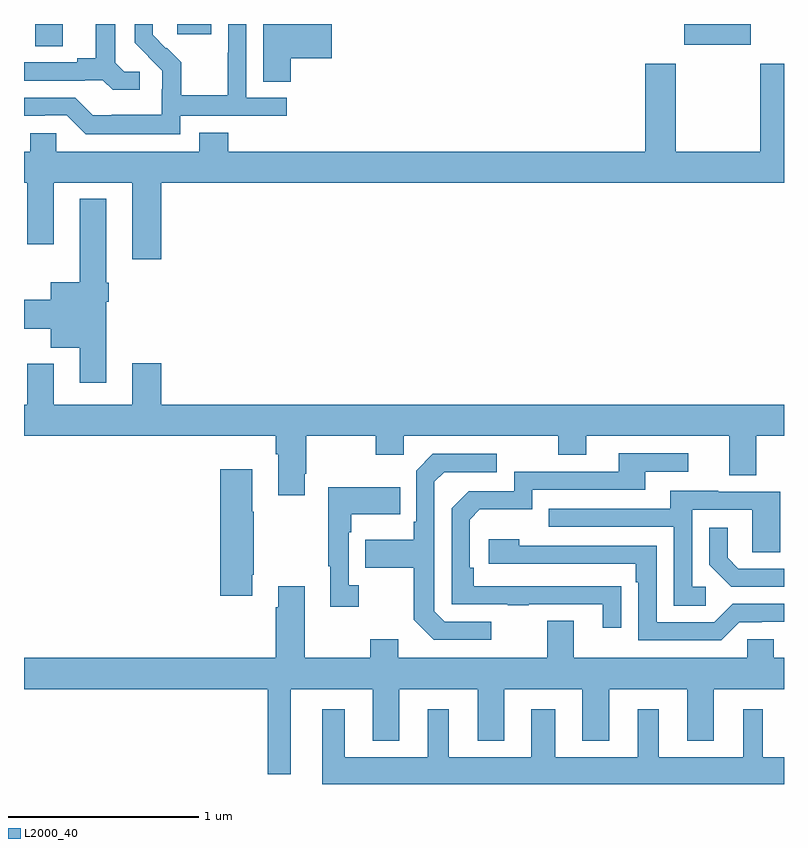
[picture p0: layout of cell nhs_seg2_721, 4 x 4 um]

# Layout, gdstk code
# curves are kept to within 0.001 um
import gdstk
lib = gdstk.Library(unit=1e-6, precision=1e-09)
def R(c, l, rs):  # rectangles x0, y0, x1, y1
    for r in rs: c.add(gdstk.rectangle(r[:2], r[2:], *l))
def P(c, l, *ps):  # polygons
    for p in ps: c.add(gdstk.Polygon(p, *l))
L2000_40 = (2000, 40)

nhs_seg2_721 = lib.new_cell('nhs_seg2_721')
R(nhs_seg2_721, L2000_40, [(147.06,653.683,147.205,653.8), (150.476,653.69,150.826,653.8), (147.806,653.745,147.985,653.8)])
P(nhs_seg2_721, L2000_40, [(148.403,653.621),(148.621,653.621),(148.621,653.8),(148.259,653.8),(148.259,653.497),(148.403,653.497)],
  [(147.822,653.316),(148.384,653.316),(148.384,653.412),(148.17,653.412),(148.17,653.8),(148.074,653.8),(148.074,653.648),(148.072,653.648),(148.072,653.425),(147.827,653.425),(147.827,653.599),(147.75,653.676),(147.747,653.673),(147.677,653.744),(147.677,653.8),(147.582,653.8),(147.582,653.702),(147.728,653.554),(147.728,653.457),(147.726,653.457),(147.726,653.323),(147.463,653.323),(147.463,653.319),(147.363,653.319),(147.27,653.412),(147,653.412),(147,653.316),(147.11,653.316),(147.11,653.319),(147.225,653.319),(147.325,653.219),(147.822,653.219)],
  [(147.61,653.55),(147.528,653.55),(147.481,653.597),(147.481,653.8),(147.377,653.8),(147.377,653.621),(147.281,653.621),(147.281,653.598),(147,653.598),(147,653.502),(147.32,653.502),(147.32,653.505),(147.414,653.505),(147.466,653.453),(147.61,653.453)],
  [(147.722,652.964),(151,652.964),(151,653.59),(150.874,653.59),(150.874,653.128),(150.429,653.128),(150.429,653.59),(150.269,653.59),(150.269,653.128),(148.076,653.128),(148.076,653.227),(147.923,653.227),(147.923,653.128),(147.171,653.128),(147.171,653.226),(147.033,653.226),(147.033,653.128),(147,653.128),(147,652.964),(147.017,652.964),(147.017,652.753),(147.018,652.753),(147.018,652.641),(147.157,652.641),(147.157,652.964),(147.569,652.964),(147.569,652.563),(147.722,652.563)],
  [(147.433,652.337),(147.446,652.337),(147.446,652.437),(147.433,652.437),(147.433,652.879),(147.293,652.879),(147.293,652.441),(147.14,652.441),(147.14,652.348),(147,652.348),(147,652.196),(147.14,652.196),(147.14,652.097),(147.293,652.097),(147.293,651.912),(147.433,651.912)],
  [(148.477,651.433),(148.485,651.433),(148.485,651.632),(148.852,651.632),(148.852,651.533),(148.998,651.533),(148.998,651.632),(149.812,651.632),(149.812,651.533),(149.959,651.533),(149.959,651.632),(150.713,651.632),(150.713,651.424),(150.853,651.424),(150.853,651.632),(151,651.632),(151,651.796),(147.722,651.796),(147.722,652.015),(147.569,652.015),(147.569,651.796),(147.157,651.796),(147.157,652.012),(147.017,652.012),(147.017,651.796),(147,651.796),(147,651.632),(148.325,651.632),(148.325,651.536),(148.337,651.536),(148.337,651.321),(148.477,651.321)],
  [(150.143,650.84),(149.366,650.841),(149.366,650.938),(149.346,650.938),(149.346,651.192),(149.399,651.245),(149.676,651.245),(149.676,651.348),(150.271,651.348),(150.271,651.444),(150.496,651.444),(150.496,651.54),(150.131,651.54),(150.131,651.444),(149.58,651.444),(149.58,651.342),(149.34,651.342),(149.25,651.252),(149.25,650.745),(149.545,650.745),(149.545,650.74),(149.657,650.74),(149.657,650.745),(150.047,650.745),(150.047,650.622),(150.143,650.622)],
  [(149.458,650.655),(149.214,650.655),(149.16,650.709),(149.16,651.39),(149.211,651.441),(149.488,651.441),(149.488,651.537),(149.151,651.537),(149.064,651.45),(149.064,651.181),(149.052,651.181),(149.052,651.085),(148.795,651.085),(148.795,650.938),(149.052,650.938),(149.052,650.665),(149.157,650.559),(149.458,650.559)],
  [(148.201,650.902),(148.209,650.902),(148.209,651.233),(148.201,651.233),(148.201,651.457),(148.034,651.457),(148.034,650.79),(148.201,650.79)],
  [(148.762,650.846),(148.71,650.846),(148.71,651.125),(148.723,651.125),(148.723,651.221),(148.979,651.221),(148.979,651.361),(148.602,651.361),(148.602,650.945),(148.613,650.945),(148.613,650.733),(148.762,650.733)],
  [(150.589,650.838),(150.516,650.838),(150.516,651.243),(150.834,651.243),(150.834,651.019),(150.979,651.019),(150.979,651.339),(150.655,651.339),(150.655,651.343),(150.401,651.343),(150.401,651.249),(149.761,651.249),(149.761,651.153),(150.42,651.153),(150.42,650.737),(150.589,650.737)],
  [(151,650.934),(150.76,650.934),(150.703,650.991),(150.703,651.148),(150.606,651.148),(150.606,650.954),(150.722,650.838),(151,650.838)],
  [(150.765,650.652),(150.884,650.652),(150.884,650.655),(151,650.654),(151,650.748),(150.729,650.748),(150.633,650.652),(150.33,650.652),(150.33,651.054),(149.606,651.054),(149.606,651.088),(149.445,651.088),(149.445,650.958),(150.221,650.958),(150.221,650.861),(150.234,650.861),(150.234,650.556),(150.669,650.556)],
  [(148.405,650.3),(148.835,650.3),(148.835,650.027),(148.975,650.027),(148.975,650.3),(149.387,650.3),(149.387,650.027),(149.527,650.027),(149.527,650.3),(149.939,650.3),(149.939,650.027),(150.079,650.027),(150.079,650.3),(150.491,650.3),(150.491,650.027),(150.631,650.027),(150.631,650.3),(151,650.3),(151,650.464),(150.945,650.464),(150.945,650.562),(150.807,650.562),(150.807,650.464),(149.893,650.464),(149.893,650.659),(149.753,650.659),(149.753,650.464),(148.969,650.464),(148.969,650.563),(148.822,650.563),(148.822,650.464),(148.477,650.464),(148.477,650.842),(148.337,650.842),(148.337,650.729),(148.325,650.729),(148.325,650.464),(147,650.464),(147,650.3),(148.284,650.3),(148.284,649.851),(148.405,649.851)],
  [(151,649.942),(150.889,649.942),(150.889,650.194),(150.785,650.194),(150.785,649.942),(150.34,649.942),(150.34,650.194),(150.23,650.194),(150.23,649.942),(149.797,649.942),(149.797,650.194),(149.669,650.194),(149.669,649.942),(149.236,649.942),(149.236,650.194),(149.126,650.194),(149.126,649.942),(148.687,649.942),(148.687,650.194),(148.571,650.194),(148.571,649.8),(151,649.8)])

lib.write_gds('nhs_seg2_721.gds')
